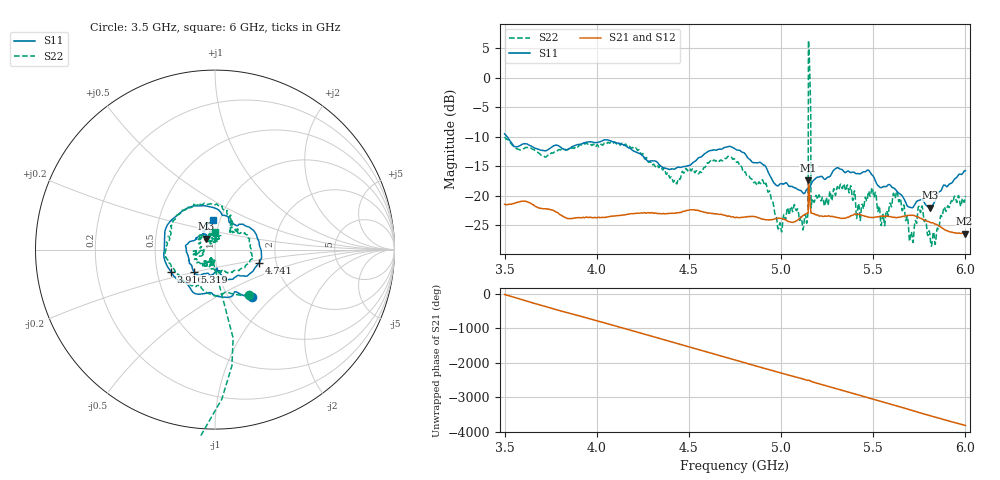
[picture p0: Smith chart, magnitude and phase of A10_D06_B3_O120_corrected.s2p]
! Created with skrf 1.9.0 (http://scikit-rf.org).
# Hz S RI R 50.0
!freq ReS11 ImS11 ReS21 ImS21 ReS12 ImS12 ReS22 ImS22
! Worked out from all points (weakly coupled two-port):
!   1601 points, 3.5 GHz to 6 GHz, reference 50 ohm
!   highest |S21| = -17.35 dB at 5.148 GHz (marker M1); lowest = -26.4 dB at 5.995 GHz (marker M2)
!   lowest |S11| = -22.0 dB at 5.808 GHz (marker M3), VSWR 1.17, Z = 44.9 + j5.55 ohm
!   |S11| at or under -10 dB: 3.514 GHz to end of sweep
!   |S22| runs from -28.5 to 6.4 dB; largest |S21 - S12| = 0.00095
!   S11 on the Smith chart (normalised r, x): 3.5 GHz: 1.27, -0.76; 3.916 GHz: 0.59, -0.16; 4.741 GHz: 1.62, -0.26; 5.319 GHz: 0.77, -0.20; 6 GHz: 0.92, +0.31
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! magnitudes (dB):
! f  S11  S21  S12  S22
! 3.5 GHz  -9.5  -21.4  -21.4  -10.0
! 3.916 GHz  -11.2  -23.7  -23.7  -11.4
! 3.917 GHz  -11.2  -23.7  -23.7  -11.4
! 4.334 GHz  -14.5  -23.0  -22.9  -15.1
! 4.741 GHz  -11.9  -23.6  -23.6  -13.8
! 4.75 GHz  -12.0  -23.7  -23.6  -13.9
! 4.909 GHz  -14.8  -24.0  -23.9  -18.2
! 4.992 GHz  -18.1  -23.8  -23.7  -24.7
! 5.128 GHz  -19.5  -23.2  -23.2  -23.6
! 5.134 GHz  -19.2  -23.1  -23.0  -23.5
! 5.148 GHz  -18.6  -17.3  -17.3  6.4
! 5.161 GHz  -18.2  -22.5  -22.4  -6.0
! 5.167 GHz  -17.7  -23.0  -22.9  -21.0
! 5.175 GHz  -17.4  -23.0  -23.0  -20.7
! 5.319 GHz  -15.4  -23.8  -23.7  -18.3
! 5.584 GHz  -18.1  -23.5  -23.4  -22.5
! 5.636 GHz  -19.5  -23.6  -23.6  -20.6
! 5.706 GHz  -22.0  -23.3  -23.2  -26.1
! 5.756 GHz  -20.7  -23.8  -23.8  -22.8
! 5.808 GHz  -22.0  -24.5  -24.4  -26.6
! 5.995 GHz  -15.7  -26.4  -26.3  -20.9
! 6 GHz  -15.7  -26.4  -26.3  -20.0
